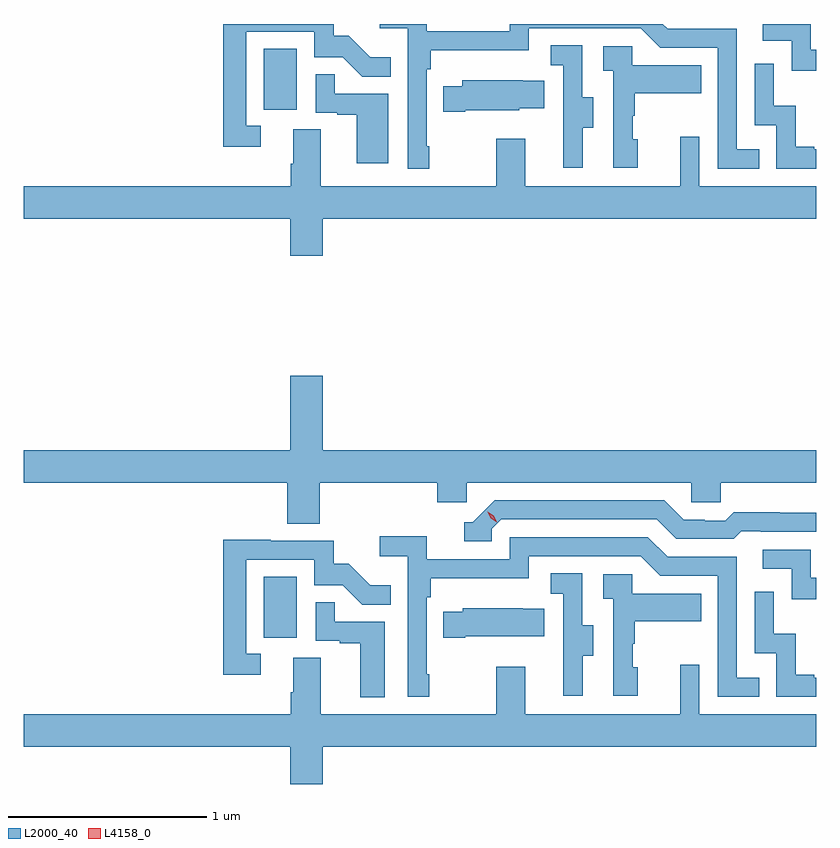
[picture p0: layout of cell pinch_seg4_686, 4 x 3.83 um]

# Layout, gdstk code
import gdstk
lib = gdstk.Library(unit=1e-6, precision=1e-09)
def R(c, l, rs):  # rectangles x0, y0, x1, y1
    for r in rs: c.add(gdstk.rectangle(r[:2], r[2:], *l))
def P(c, l, *ps):  # polygons
    for p in ps: c.add(gdstk.Polygon(p, *l))
L2000_40 = (2000, 40)
L4158_0 = (4158, 0)

pinch_seg4_686 = lib.new_cell('pinch_seg4_686')
R(pinch_seg4_686, L2000_40, [(1141.898,758.742,1142.062,759.049), (1141.898,761.406,1142.062,761.713)])
P(pinch_seg4_686, L2000_40, [(1142.731,761.221),(1142.718,761.221),(1142.718,761.609),(1142.738,761.609),(1142.738,761.705),(1143.234,761.705),(1143.234,761.817),(1143.798,761.817),(1143.897,761.718),(1144.188,761.718),(1144.188,761.109),(1144.397,761.109),(1144.397,761.205),(1144.284,761.205),(1144.284,761.814),(1143.934,761.814),(1143.91,761.838),(1143.138,761.838),(1143.138,761.802),(1142.72,761.802),(1142.72,761.838),(1142.481,761.838),(1142.481,761.816),(1142.622,761.816),(1142.622,761.109),(1142.731,761.109)],
  [(1141.882,761.325),(1141.809,761.325),(1141.809,761.799),(1142.151,761.799),(1142.151,761.67),(1142.295,761.67),(1142.393,761.572),(1142.537,761.572),(1142.537,761.671),(1142.433,761.671),(1142.326,761.778),(1142.25,761.778),(1142.25,761.838),(1141.693,761.838),(1141.693,761.22),(1141.882,761.22)],
  [(1144.685,761.709),(1144.656,761.709),(1144.656,761.838),(1144.413,761.838),(1144.413,761.754),(1144.56,761.754),(1144.56,761.601),(1144.685,761.601)],
  [(1143.505,761.314),(1143.559,761.314),(1143.559,761.469),(1143.504,761.469),(1143.504,761.732),(1143.345,761.732),(1143.345,761.629),(1143.408,761.629),(1143.408,761.325),(1143.407,761.325),(1143.407,761.112),(1143.505,761.112)],
  [(1143.784,761.256),(1143.759,761.256),(1143.759,761.375),(1143.769,761.375),(1143.769,761.489),(1144.103,761.489),(1144.103,761.629),(1143.756,761.629),(1143.756,761.727),(1143.609,761.727),(1143.609,761.603),(1143.66,761.603),(1143.66,761.112),(1143.784,761.112)],
  [(1144.685,761.205),(1144.675,761.205),(1144.675,761.218),(1144.58,761.218),(1144.58,761.426),(1144.47,761.426),(1144.47,761.638),(1144.374,761.638),(1144.374,761.328),(1144.482,761.328),(1144.482,761.109),(1144.685,761.109)],
  [(1142.524,761.487),(1142.255,761.487),(1142.255,761.585),(1142.16,761.585),(1142.16,761.391),(1142.267,761.391),(1142.267,761.379),(1142.366,761.379),(1142.366,761.136),(1142.524,761.136)],
  [(1142.914,761.402),(1143.186,761.402),(1143.186,761.414),(1143.311,761.414),(1143.311,761.551),(1143.203,761.551),(1143.203,761.554),(1142.897,761.554),(1142.897,761.524),(1142.803,761.524),(1142.803,761.395),(1142.914,761.395)],
  [(1142.194,760.856),(1144.685,760.856),(1144.685,761.02),(1144.095,761.02),(1144.095,761.269),(1143.998,761.269),(1143.998,761.02),(1143.217,761.02),(1143.217,761.26),(1143.07,761.26),(1143.07,761.02),(1142.185,761.02),(1142.185,761.306),(1142.045,761.306),(1142.045,761.132),(1142.033,761.132),(1142.033,761.02),(1140.685,761.02),(1140.685,760.856),(1142.03,760.856),(1142.03,760.668),(1142.194,760.668)],
  [(1142.18,759.524),(1142.771,759.524),(1142.771,759.426),(1142.922,759.426),(1142.922,759.524),(1144.053,759.524),(1144.053,759.426),(1144.203,759.426),(1144.203,759.524),(1144.685,759.524),(1144.685,759.688),(1142.194,759.688),(1142.194,760.063),(1142.03,760.063),(1142.03,759.688),(1140.685,759.688),(1140.685,759.524),(1142.015,759.524),(1142.015,759.316),(1142.18,759.316)],
  [(1143.048,759.291),(1143.096,759.339),(1143.879,759.339),(1143.978,759.24),(1144.267,759.24),(1144.306,759.279),(1144.405,759.279),(1144.405,759.276),(1144.685,759.276),(1144.685,759.373),(1144.5,759.373),(1144.5,759.376),(1144.267,759.376),(1144.225,759.333),(1144.122,759.333),(1144.122,759.336),(1144.015,759.336),(1143.916,759.435),(1143.063,759.435),(1142.952,759.324),(1142.909,759.324),(1142.909,759.228),(1143.048,759.228)],
  [(1142.731,758.557),(1142.718,758.557),(1142.718,758.945),(1142.738,758.945),(1142.738,759.041),(1143.234,759.041),(1143.234,759.153),(1143.798,759.153),(1143.897,759.054),(1144.188,759.054),(1144.188,758.445),(1144.397,758.445),(1144.397,758.541),(1144.284,758.541),(1144.284,759.15),(1143.934,759.15),(1143.835,759.249),(1143.138,759.249),(1143.138,759.138),(1142.72,759.138),(1142.72,759.254),(1142.481,759.254),(1142.481,759.152),(1142.622,759.152),(1142.622,758.445),(1142.731,758.445)],
  [(1141.882,758.661),(1141.809,758.661),(1141.809,759.135),(1142.151,759.135),(1142.151,759.006),(1142.296,759.006),(1142.394,758.908),(1142.537,758.908),(1142.537,759.007),(1142.433,759.007),(1142.326,759.114),(1142.25,759.114),(1142.25,759.231),(1141.931,759.231),(1141.931,759.236),(1141.693,759.236),(1141.693,758.556),(1141.882,758.556)],
  [(1144.685,759.045),(1144.656,759.045),(1144.656,759.186),(1144.413,759.186),(1144.413,759.09),(1144.56,759.09),(1144.56,758.937),(1144.685,758.937)],
  [(1143.505,758.65),(1143.559,758.65),(1143.559,758.805),(1143.504,758.805),(1143.504,759.068),(1143.345,759.068),(1143.345,758.965),(1143.408,758.965),(1143.408,758.661),(1143.407,758.661),(1143.407,758.448),(1143.505,758.448)],
  [(1143.784,758.592),(1143.759,758.592),(1143.759,758.711),(1143.769,758.711),(1143.769,758.825),(1144.103,758.825),(1144.103,758.965),(1143.756,758.965),(1143.756,759.063),(1143.609,759.063),(1143.609,758.939),(1143.66,758.939),(1143.66,758.448),(1143.784,758.448)],
  [(1144.685,758.541),(1144.675,758.541),(1144.675,758.554),(1144.58,758.554),(1144.58,758.762),(1144.47,758.762),(1144.47,758.974),(1144.374,758.974),(1144.374,758.664),(1144.482,758.664),(1144.482,758.445),(1144.685,758.445)],
  [(1142.506,758.823),(1142.255,758.823),(1142.255,758.921),(1142.16,758.921),(1142.16,758.727),(1142.281,758.727),(1142.281,758.715),(1142.384,758.715),(1142.384,758.441),(1142.506,758.441)],
  [(1142.914,758.75),(1143.311,758.75),(1143.311,758.887),(1143.203,758.887),(1143.203,758.89),(1142.901,758.89),(1142.901,758.872),(1142.803,758.872),(1142.803,758.743),(1142.914,758.743)],
  [(1142.194,758.192),(1144.685,758.192),(1144.685,758.356),(1144.095,758.356),(1144.095,758.605),(1143.998,758.605),(1143.998,758.356),(1143.217,758.356),(1143.217,758.596),(1143.07,758.596),(1143.07,758.356),(1142.185,758.356),(1142.185,758.642),(1142.045,758.642),(1142.045,758.468),(1142.033,758.468),(1142.033,758.356),(1140.685,758.356),(1140.685,758.192),(1142.03,758.192),(1142.03,758.004),(1142.194,758.004)])
P(pinch_seg4_686, L4158_0, [(1143.072,759.325),(1143.042,759.345),(1143.026,759.378),(1143.026,759.378),(1143.026,759.378),(1143.057,759.358),(1143.072,759.325),(1143.072,759.325)])

lib.write_gds('pinch_seg4_686.gds')
